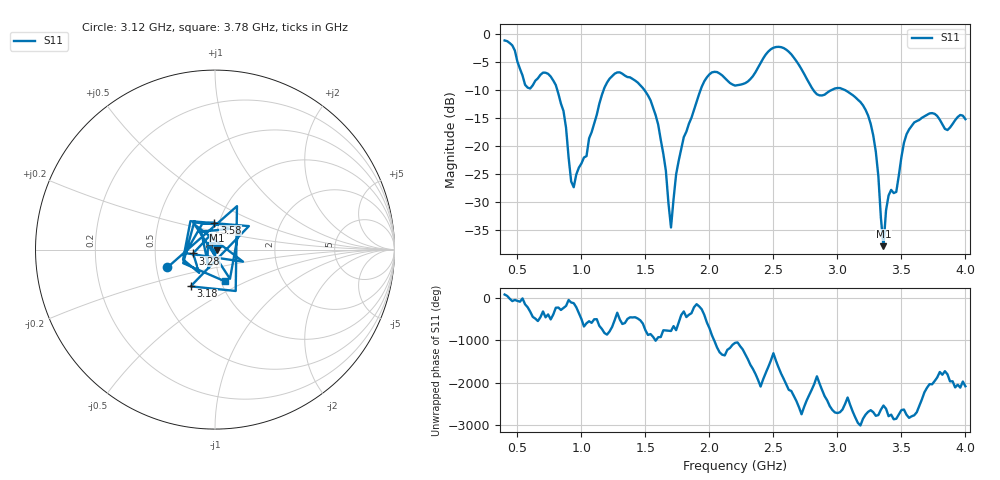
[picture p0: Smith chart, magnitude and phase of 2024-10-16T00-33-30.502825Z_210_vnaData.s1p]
! Created with skrf (http://scikit-rf.org).
# Hz S RI R 50.0
!freq ReS11 ImS11
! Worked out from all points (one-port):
!   181 points, 400 MHz to 4 GHz, reference 50 ohm
!   lowest |S11| = -38.0 dB at 3.36 GHz (marker M1), VSWR 1.03, Z = 51.2 - j0.331 ohm
!   |S11| at or under -10 dB: 811 MHz to 1.174 GHz (363.2 MHz wide, 36.6 % of centre); 1.49 GHz to 1.932 GHz (441.1 MHz wide, 25.8 % of centre); 3.054 GHz to end of sweep (the widest 3 of 4)
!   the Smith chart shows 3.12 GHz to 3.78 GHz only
!   S11 on the Smith chart (normalised r, x): 3.12 GHz: 0.57, -0.12; 3.18 GHz: 0.71, -0.31; 3.28 GHz: 0.78, -0.03; 3.58 GHz: 0.95, +0.29; 3.78 GHz: 1.04, -0.38
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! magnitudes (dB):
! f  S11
! 400 MHz  -1.2
! 560 MHz  -9.1
! 740 MHz  -7.1
! 860 MHz  -13.8
! 940 MHz  -27.4
! 1.18 GHz  -9.6
! 1.3 GHz  -6.9
! 1.58 GHz  -14.5
! 1.66 GHz  -24.5
! 1.7 GHz  -34.6
! 1.76 GHz  -22.7
! 1.98 GHz  -7.8
! 2.2 GHz  -9.2
! 2.5 GHz  -2.5
! 2.66 GHz  -4.3
! 2.84 GHz  -10.8
! 3.1 GHz  -10.6
! 3.12 GHz  -11.0
! 3.18 GHz  -12.2
! 3.28 GHz  -18.1
! 3.32 GHz  -25.4
! 3.36 GHz  -38.0
! 3.4 GHz  -28.9
! 3.46 GHz  -28.2
! 3.56 GHz  -17.1
! 3.58 GHz  -16.5
! 3.78 GHz  -14.7
! 4 GHz  -15.3
